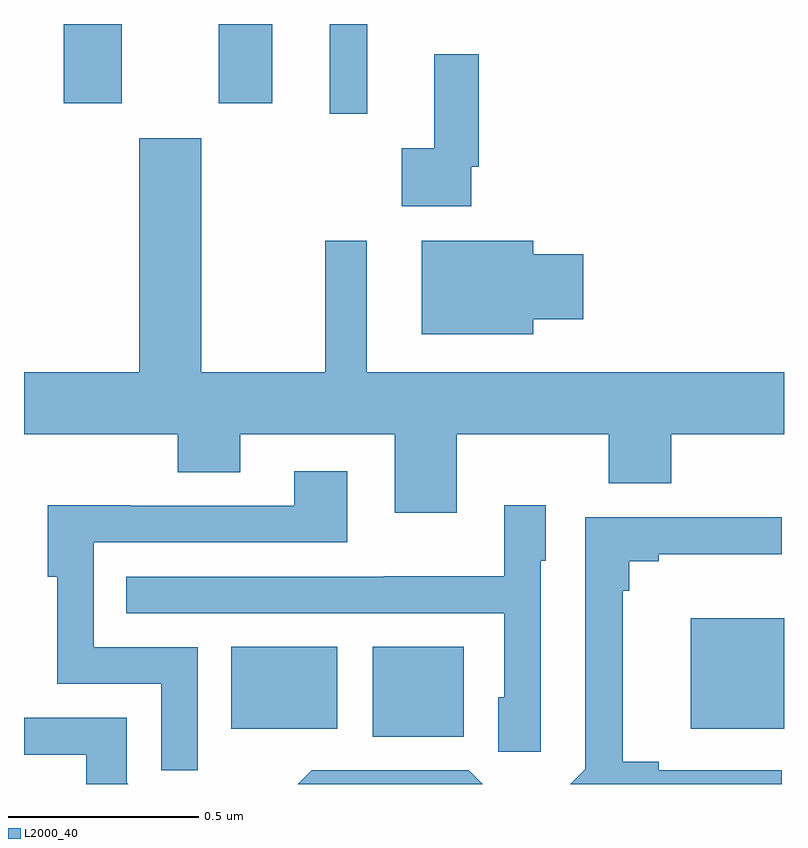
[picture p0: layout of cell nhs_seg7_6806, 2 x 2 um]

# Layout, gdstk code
import gdstk
lib = gdstk.Library(unit=1e-6, precision=1e-09)
def R(c, l, rs):  # rectangles x0, y0, x1, y1
    for r in rs: c.add(gdstk.rectangle(r[:2], r[2:], *l))
def P(c, l, *ps):  # polygons
    for p in ps: c.add(gdstk.Polygon(p, *l))
L2000_40 = (2000, 40)

nhs_seg7_6806 = lib.new_cell('nhs_seg7_6806')
R(nhs_seg7_6806, L2000_40, [(203.918,1029.125,204.157,1029.361), (203.546,1029.146,203.824,1029.361), (204.755,1029.146,205,1029.436), (203.804,1030.764,203.903,1031), (203.105,1030.791,203.257,1031), (203.513,1030.791,203.653,1031)])
P(nhs_seg7_6806, L2000_40, [(204.177,1030.624),(204.197,1030.624),(204.197,1030.921),(204.08,1030.921),(204.08,1030.673),(203.994,1030.673),(203.994,1030.52),(204.177,1030.52)],
  [(204.139,1029.92),(204.539,1029.92),(204.539,1029.792),(204.703,1029.792),(204.703,1029.92),(205,1029.92),(205,1030.084),(203.902,1030.084),(203.902,1030.429),(203.793,1030.429),(203.793,1030.084),(203.467,1030.084),(203.467,1030.699),(203.303,1030.699),(203.303,1030.084),(203,1030.084),(203,1029.92),(203.405,1029.92),(203.405,1029.821),(203.569,1029.821),(203.569,1029.92),(203.975,1029.92),(203.975,1029.714),(204.139,1029.714)],
  [(204.34,1030.223),(204.472,1030.223),(204.472,1030.394),(204.34,1030.394),(204.34,1030.429),(204.047,1030.429),(204.047,1030.184),(204.34,1030.184)],
  [(203.457,1029.36),(203.184,1029.36),(203.184,1029.636),(203.851,1029.636),(203.851,1029.823),(203.711,1029.823),(203.711,1029.732),(203.281,1029.732),(203.281,1029.734),(203.063,1029.734),(203.063,1029.546),(203.088,1029.546),(203.088,1029.264),(203.361,1029.264),(203.361,1029.036),(203.457,1029.036)],
  [(204.36,1029.588),(204.373,1029.588),(204.373,1029.733),(204.264,1029.733),(204.264,1029.547),(203.947,1029.547),(203.947,1029.546),(203.269,1029.546),(203.269,1029.45),(204.264,1029.45),(204.264,1029.228),(204.248,1029.228),(204.248,1029.085),(204.36,1029.085)],
  [(204.994,1029.036),(204.67,1029.036),(204.67,1029.059),(204.575,1029.059),(204.575,1029.509),(204.593,1029.509),(204.593,1029.586),(204.67,1029.586),(204.67,1029.605),(204.994,1029.605),(204.994,1029.702),(204.477,1029.702),(204.477,1029.039),(204.438,1029),(204.994,1029)],
  [(203.271,1029.003),(203.271,1029.174),(203,1029.174),(203,1029.077),(203.164,1029.077),(203.164,1029),(203.274,1029)],
  [(203.757,1029.036),(203.721,1029),(204.207,1029),(204.171,1029.036)])

lib.write_gds('nhs_seg7_6806.gds')
